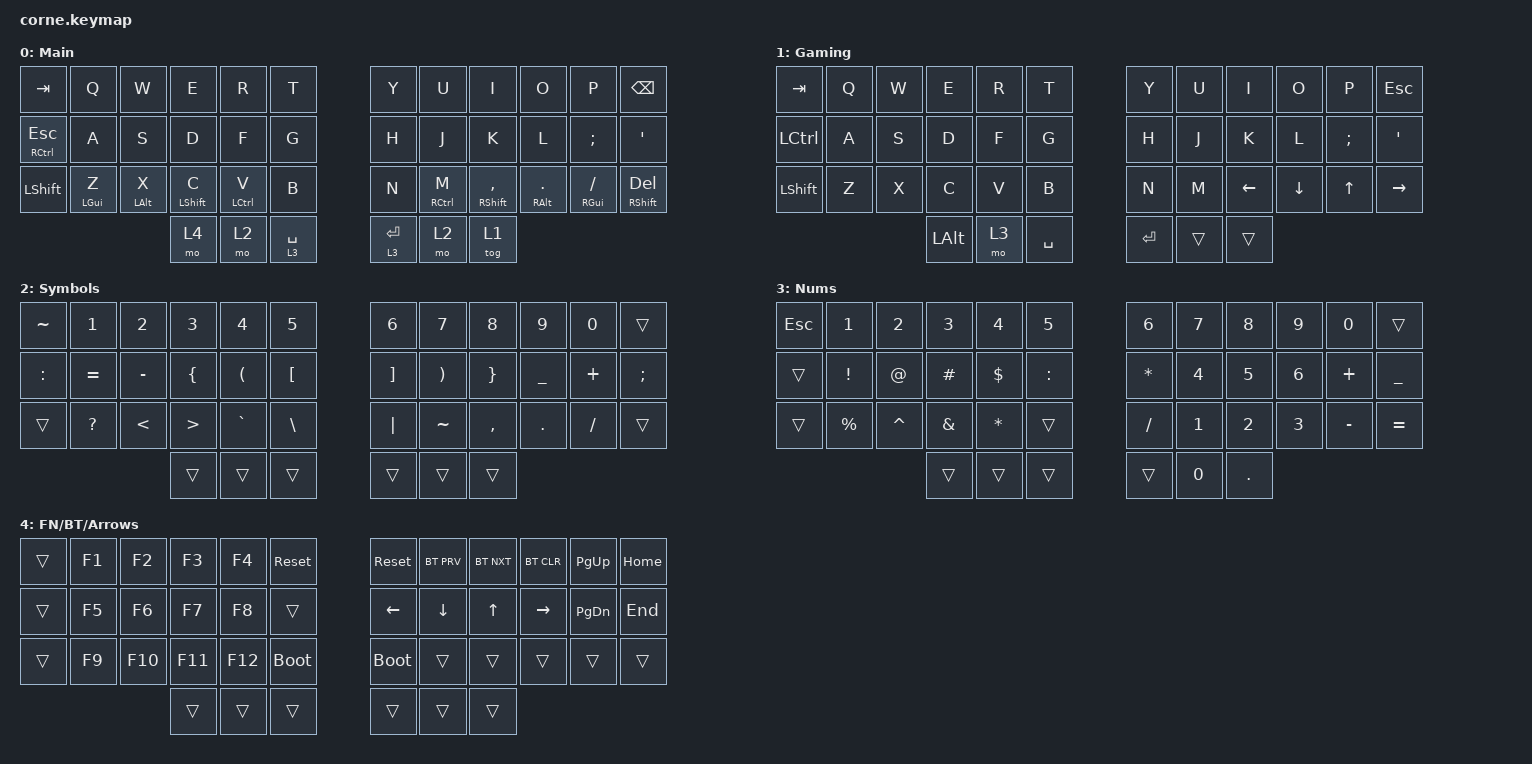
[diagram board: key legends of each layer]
/*
 * Copyright (c) 2020 The ZMK Contributors
 *
 * SPDX-License-Identifier: MIT
 */

#include <behaviors.dtsi>
#include <dt-bindings/zmk/bt.h>
#include <dt-bindings/zmk/keys.h>

/ {
    behaviors {
        hm: homerow_mods {
            compatible = "zmk,behavior-hold-tap";
            #binding-cells = <2>;
            tapping-term-ms = <200>;
            quick-tap-ms = <0>;
            flavor = "tap-preferred";
            bindings = <&kp>, <&kp>;
        };
    };

    keymap {
        compatible = "zmk,keymap";

        Main {
            // -----------------------------------------------------------------------------------------
            // |  TAB |  Q  |  W  |  E  |  R  |  T  |   |  Y  |  U   |  I  |  O  |  P  | BKSP |
            // | CTRL |  A  |  S  |  D  |  F  |  G  |   |  H  |  J   |  K  |  L  |  ;  |  '   |
            // | SHFT |  Z  |  X  |  C  |  V  |  B  |   |  N  |  M   |  ,  |  .  |  /  | ESC  |
            //                    | GUI | LWR | SPC |   | ENT | RSE  | ALT |

            display-name = "Main";
            bindings = <
&kp TAB        &kp Q       &kp W       &kp E        &kp R        &kp T          &kp Y        &kp U        &kp I            &kp O            &kp P           &kp BSPC
&mt RCTRL ESC  &kp A       &kp S       &kp D        &kp F        &kp G          &kp H        &kp J        &kp K            &kp L            &kp SEMI        &kp SQT
&kp LSHFT      &hm LGUI Z  &hm LALT X  &hm LSHFT C  &hm LCTRL V  &kp B          &kp N        &hm RCTRL M  &hm RSHFT COMMA  &hm RALT PERIOD  &hm RGUI SLASH  &mt RSHFT DEL
                                       &mo 4        &mo 2        &lt 3 SPACE    &lt 3 ENTER  &mo 2        &tog 1
            >;
        };

        Gaming {
            bindings = <
&kp TAB    &kp Q  &kp W  &kp E     &kp R  &kp T        &kp Y      &kp U   &kp I     &kp O     &kp P     &kp ESC
&kp LCTRL  &kp A  &kp S  &kp D     &kp F  &kp G        &kp H      &kp J   &kp K     &kp L     &kp SEMI  &kp SQT
&kp LSHFT  &kp Z  &kp X  &kp C     &kp V  &kp B        &kp N      &kp M   &kp LEFT  &kp DOWN  &kp UP    &kp RIGHT
                         &kp LALT  &mo 3  &kp SPACE    &kp ENTER  &trans  &trans
            >;

            label = "Gaming";
        };

        Symbols {
            // -----------------------------------------------------------------------------------------
            // |  TAB |  !  |  @  |  #  |  $  |  %  |   |  ^  |  &  |  *  |  (  |  )  | BKSP |
            // | CTRL |     |     |     |     |     |   |  -  |  =  |  [  |  ]  |  \  |  `   |
            // | SHFT |     |     |     |     |     |   |  _  |  +  |  {  |  }  | "|" |  ~   |
            //                    | GUI |     | SPC |   | ENT |     | ALT |

            display-name = "Symbols";
            bindings = <
&kp TILDE  &kp N1        &kp N2         &kp N3            &kp N4     &kp N5              &kp N6             &kp N7     &kp N8           &kp N9      &kp N0     &trans
&kp COLON  &kp EQUAL     &kp MINUS      &kp LEFT_BRACE    &kp LPAR   &kp LEFT_BRACKET    &kp RIGHT_BRACKET  &kp RPAR   &kp RIGHT_BRACE  &kp UNDER   &kp PLUS   &kp SEMI
&trans     &kp QUESTION  &kp LESS_THAN  &kp GREATER_THAN  &kp GRAVE  &kp BACKSLASH       &kp PIPE           &kp TILDE  &kp COMMA        &kp PERIOD  &kp SLASH  &trans
                                        &trans            &trans     &trans              &trans             &trans     &trans
            >;
        };

        Nums {
            bindings = <
&kp ESCAPE  &kp N1       &kp N2     &kp N3         &kp N4      &kp N5       &kp N6    &kp N7        &kp N8   &kp N9  &kp N0     &trans
&trans      &kp EXCL     &kp AT     &kp POUND      &kp DOLLAR  &kp COLON    &kp STAR  &kp N4        &kp N5   &kp N6  &kp PLUS   &kp UNDERSCORE
&trans      &kp PERCENT  &kp CARET  &kp AMPERSAND  &kp STAR    &trans       &kp FSLH  &kp N1        &kp N2   &kp N3  &kp MINUS  &kp EQUAL
                                    &trans         &trans      &trans       &trans    &kp NUMBER_0  &kp DOT
            >;

            label = "Nums";
        };

        BT {
            display-name = "FN/BT/Arrows";
            bindings = <
&trans  &kp F1  &kp F2   &kp F3   &kp F4   &sys_reset     &sys_reset   &bt BT_PRV  &bt BT_NXT  &bt BT_CLR  &kp PAGE_UP    &kp HOME
&trans  &kp F5  &kp F6   &kp F7   &kp F8   &trans         &kp LEFT     &kp DOWN    &kp UP      &kp RIGHT   &kp PAGE_DOWN  &kp END
&trans  &kp F9  &kp F10  &kp F11  &kp F12  &bootloader    &bootloader  &trans      &trans      &trans      &trans         &trans
                         &trans   &trans   &trans         &trans       &trans      &trans
            >;
        };
    };
};
